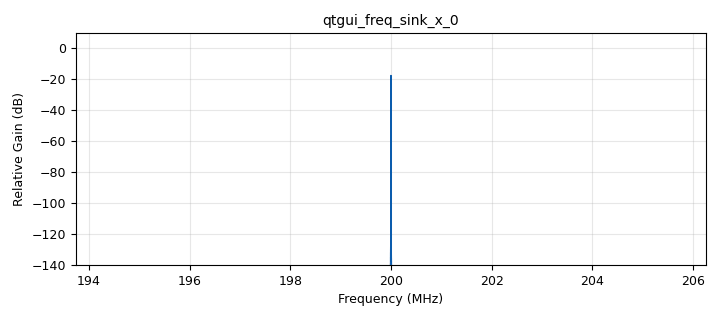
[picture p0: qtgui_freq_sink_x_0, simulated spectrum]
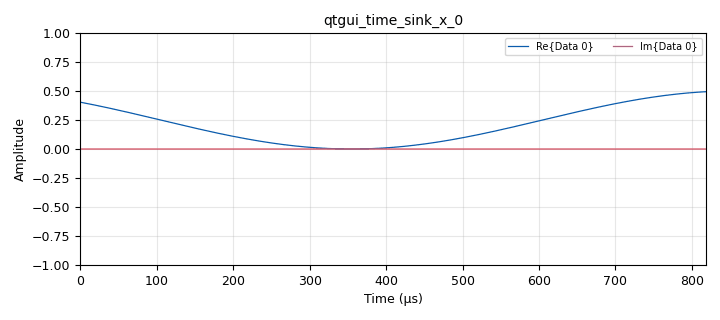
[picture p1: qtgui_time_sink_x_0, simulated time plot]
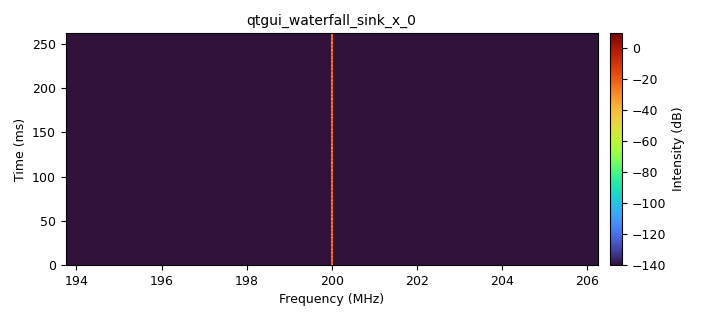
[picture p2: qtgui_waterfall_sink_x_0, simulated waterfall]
options:
  parameters:
    author: estudiante
    generate_options: qt_gui
    id: mision1parte1
    output_language: python
    title: Not titled yet
  states: {}

blocks:
- name: A
  id: variable_qtgui_range
  parameters:
    label: Amplitud mensaje
    start: '0'
    step: '0.01'
    stop: '1'
    value: '1'
  states: {}
- name: AC
  id: variable_qtgui_range
  parameters:
    label: Amplitud Portadora
    start: '0'
    step: '0.01'
    stop: '0.5'
    value: '0.25'
  states: {}
- name: FC
  id: variable_qtgui_range
  parameters:
    label: frecuencia_central
    rangeType: int
    start: '50'
    step: '1'
    stop: '2220'
    value: '200'
  states: {}
- name: FM
  id: variable_qtgui_range
  parameters:
    label: Frecuencia Mensaje
    start: '100'
    step: '0.01'
    stop: '20000'
    value: '1000'
  states: {}
- name: GTX
  id: variable_qtgui_range
  parameters:
    start: '0'
    step: '1'
    stop: '30'
    value: '0'
  states: {}
- name: KA
  id: variable_qtgui_range
  parameters:
    label: Coeficiente
    start: '0'
    step: '0.01'
    stop: '3'
    value: '1'
  states: {}
- name: samp_rate
  id: variable
  parameters:
    value: '12500000'
  states: {}
- name: analog_const_source_x_0
  id: analog_const_source_x
  parameters:
    const: A
    type: complex
  states: {state: disabled}
- name: analog_sig_source_x_0
  id: analog_sig_source_x
  parameters:
    amp: A
    freq: FM
    offset: '0'
    phase: '0'
    samp_rate: samp_rate
    type: float
    waveform: analog.GR_SIN_WAVE
  states: {}
- name: blocks_add_const_vxx_1
  id: blocks_add_const_vxx
  parameters:
    const: '1'
    type: float
  states: {}
- name: blocks_float_to_complex_0
  id: blocks_float_to_complex
  parameters: {}
  states: {}
- name: blocks_multiply_const_vxx_0
  id: blocks_multiply_const_vxx
  parameters:
    const: KA
    type: float
  states: {}
- name: blocks_multiply_const_vxx_1
  id: blocks_multiply_const_vxx
  parameters:
    const: AC
    type: complex
  states: {}
- name: blocks_wavfile_source_0
  id: blocks_wavfile_source
  parameters:
    file: /home/estudiante/Descargas/rebelion_joearroyo.wav
    repeat: 'True'
  states: {state: disabled}
- name: qtgui_freq_sink_x_0
  id: qtgui_freq_sink_x
  parameters:
    bw: samp_rate
    fc: FC*1e6
    fftsize: '16384'
    type: complex
  states: {}
- name: qtgui_time_sink_x_0
  id: qtgui_time_sink_x
  parameters:
    size: '10240'
    srate: samp_rate
    type: complex
  states: {}
- name: qtgui_waterfall_sink_x_0
  id: qtgui_waterfall_sink_x
  parameters:
    bw: samp_rate
    fc: FC*1e6
    fftsize: '16384'
    type: complex
  states: {}
- name: rational_resampler_xxx_0
  id: rational_resampler_xxx
  parameters:
    decim: '44100'
    interp: samp_rate
    type: fff
  states: {state: disabled}
- name: uhd_usrp_sink_0
  id: uhd_usrp_sink
  parameters:
    ant0: '"TX/RX"'
    center_freq0: FC*1e6
    gain0: GTX
    samp_rate: samp_rate
    sync: pc_clock
    type: fc32
  states: {}
- name: uhd_usrp_source_0
  id: uhd_usrp_source
  parameters:
    ant0: '"RX2"'
    center_freq0: FC
    gain0: GRX
    samp_rate: samp_rate
    sync: pc_clock
    type: fc32
  states: {state: disabled}

connections:
- [analog_sig_source_x_0, '0', blocks_multiply_const_vxx_0, '0']
- [blocks_add_const_vxx_1, '0', blocks_float_to_complex_0, '0']
- [blocks_float_to_complex_0, '0', blocks_multiply_const_vxx_1, '0']
- [blocks_multiply_const_vxx_0, '0', blocks_add_const_vxx_1, '0']
- [blocks_multiply_const_vxx_1, '0', qtgui_freq_sink_x_0, '0']
- [blocks_multiply_const_vxx_1, '0', qtgui_time_sink_x_0, '0']
- [blocks_multiply_const_vxx_1, '0', qtgui_waterfall_sink_x_0, '0']
- [blocks_multiply_const_vxx_1, '0', uhd_usrp_sink_0, '0']
- [blocks_wavfile_source_0, '0', rational_resampler_xxx_0, '0']
- [rational_resampler_xxx_0, '0', blocks_multiply_const_vxx_0, '0']

metadata:
  file_format: 1
  grc_version: v3.10.11.0-89-ga17f69e7
